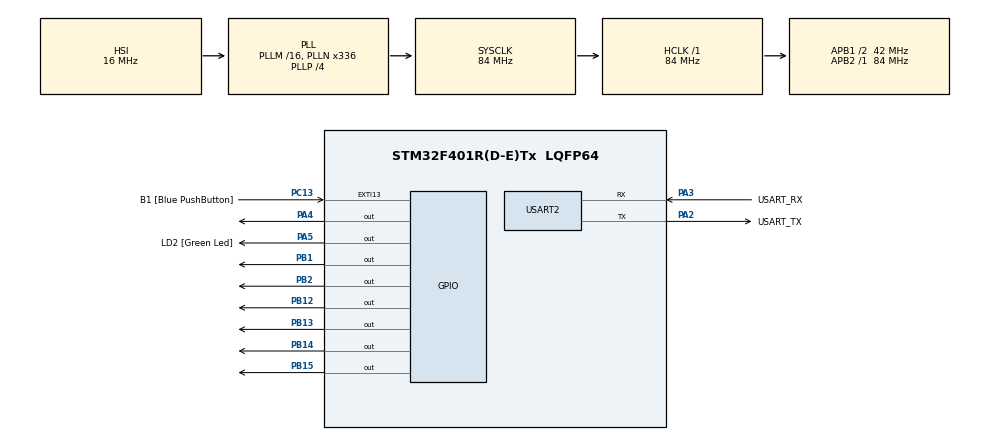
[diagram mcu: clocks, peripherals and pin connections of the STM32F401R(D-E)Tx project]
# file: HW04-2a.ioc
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Mcu.Family=STM32F4
Mcu.Name=STM32F401R(D-E)Tx
Mcu.Package=LQFP64
NVIC.PriorityGroup=NVIC_PRIORITYGROUP_4
NVIC.TIM2_IRQn=true\:0\:0\:false\:false\:true\:true\:true\:true
PA13.GPIO_Label=TMS
PA13.Mode=Trace_Asynchronous_SW
PA13.Signal=SYS_JTMS-SWDIO
PA14.GPIO_Label=TCK
PA14.Mode=Trace_Asynchronous_SW
PA14.Signal=SYS_JTCK-SWCLK
PA2.GPIO_Label=USART_TX
PA2.GPIO_Mode=GPIO_MODE_AF_PP
PA2.GPIO_PuPd=GPIO_NOPULL
PA2.GPIO_Speed=GPIO_SPEED_FREQ_LOW
PA2.Mode=Asynchronous
PA2.Signal=USART2_TX
PA3.GPIO_Label=USART_RX
PA3.GPIO_Mode=GPIO_MODE_AF_PP
PA3.GPIO_PuPd=GPIO_NOPULL
PA3.GPIO_Speed=GPIO_SPEED_FREQ_LOW
PA3.Mode=Asynchronous
PA3.Signal=USART2_RX
PA4.Signal=GPIO_Output
PA5.GPIO_Label=LD2 [Green Led]
PA5.GPIO_Mode=GPIO_MODE_OUTPUT_PP
PA5.GPIO_PuPd=GPIO_NOPULL
PA5.GPIO_Speed=GPIO_SPEED_FREQ_LOW
PA5.Signal=GPIO_Output
PB1.Signal=GPIO_Output
PB12.Signal=GPIO_Output
PB13.Signal=GPIO_Output
PB14.Signal=GPIO_Output
PB15.Signal=GPIO_Output
PB2.Signal=GPIO_Output
PB3.GPIO_Label=SWO
PB3.Mode=Trace_Asynchronous_SW
PB3.Signal=SYS_JTDO-SWO
PC13-ANTI_TAMP.GPIO_Label=B1 [Blue PushButton]
PC13-ANTI_TAMP.GPIO_ModeDefaultEXTI=GPIO_MODE_IT_FALLING
PC13-ANTI_TAMP.GPIO_PuPd=GPIO_NOPULL
PC13-ANTI_TAMP.Signal=GPXTI13
PC14-OSC32_IN.Mode=LSE-External-Oscillator
PC14-OSC32_IN.Signal=RCC_OSC32_IN
PC15-OSC32_OUT.Mode=LSE-External-Oscillator
PC15-OSC32_OUT.Signal=RCC_OSC32_OUT
PH0\ -\ OSC_IN.Mode=HSE-External-Clock-Source
PH0\ -\ OSC_IN.Signal=RCC_OSC_IN
PH1\ -\ OSC_OUT.Mode=HSE-External-Clock-Source
PH1\ -\ OSC_OUT.Signal=RCC_OSC_OUT
ProjectManager.HeapSize=0x200
ProjectManager.StackSize=0x400
ProjectManager.TargetToolchain=STM32CubeIDE
RCC.48MHZClocksFreq_Value=48000000
RCC.AHBFreq_Value=84000000
RCC.APB1CLKDivider=RCC_HCLK_DIV2
RCC.APB1Freq_Value=42000000
RCC.APB1TimFreq_Value=84000000
RCC.APB2Freq_Value=84000000
RCC.APB2TimFreq_Value=84000000
RCC.CortexFreq_Value=84000000
RCC.HCLKFreq_Value=84000000
RCC.HSE_VALUE=8000000
RCC.HSI_VALUE=16000000
RCC.PLLN=336
RCC.PLLP=RCC_PLLP_DIV4
RCC.PLLQ=7
RCC.SYSCLKFreq_VALUE=84000000
RCC.SYSCLKSource=RCC_SYSCLKSOURCE_PLLCLK
RCC.VCOOutputFreq_Value=336000000
TIM2.Period=9999
TIM2.Prescaler=8399
USART2.VirtualMode=VM_ASYNC
VP_TIM2_VS_ClockSourceINT.Mode=Internal
board=NUCLEO-F401RE

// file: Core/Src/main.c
/* USER CODE BEGIN Header */
/**
  ******************************************************************************
  * @file           : main.c
  * @brief          : Main program body
  ******************************************************************************
  * @attention
  *
  * Copyright (c) 2026 STMicroelectronics.
  * All rights reserved.
  *
  * This software is licensed under terms that can be found in the LICENSE file
  * in the root directory of this software component.
  * If no LICENSE file comes with this software, it is provided AS-IS.
  *
  ******************************************************************************
  */
/* USER CODE END Header */
#include "main.h"

/* USER CODE BEGIN Includes */

#include "PMDB16_LCD.h"

/* USER CODE END Includes */

TIM_HandleTypeDef htim2;

UART_HandleTypeDef huart2;

/* USER CODE BEGIN PV */

// Members name and number
char *members[] = {"R. Bresnik", "L. Parmitano", "F. Rubio", "A. Douglas"};
int num_members = 4;

/* USER CODE END PV */

void SystemClock_Config(void);
static void MX_GPIO_Init(void);
static void MX_USART2_UART_Init(void);
static void MX_TIM2_Init(void);

int main(void)
{

  /* MCU Configuration--------------------------------------------------------*/

  /* Reset of all peripherals, Initializes the Flash interface and the Systick. */
  HAL_Init();

  /* Configure the system clock */
  SystemClock_Config();

  /* Initialize all configured peripherals */
  MX_GPIO_Init();
  MX_USART2_UART_Init();
  MX_TIM2_Init();
  /* USER CODE BEGIN 2 */

  // Initialize the LCD
  lcd_initialize();

  // Start TIM2 in Interrupt Mode
  HAL_TIM_Base_Start_IT(&htim2);

  /* USER CODE END 2 */

  /* Infinite loop */
  while (1)
  {

  }
}

void SystemClock_Config(void)
{
  RCC_OscInitTypeDef RCC_OscInitStruct = {0};
  RCC_ClkInitTypeDef RCC_ClkInitStruct = {0};

  /** Configure the main internal regulator output voltage
  */
  __HAL_RCC_PWR_CLK_ENABLE();
  __HAL_PWR_VOLTAGESCALING_CONFIG(PWR_REGULATOR_VOLTAGE_SCALE2);

  /** Initializes the RCC Oscillators according to the specified parameters
  * in the RCC_OscInitTypeDef structure.
  */
  RCC_OscInitStruct.OscillatorType = RCC_OSCILLATORTYPE_HSI;
  RCC_OscInitStruct.HSIState = RCC_HSI_ON;
  RCC_OscInitStruct.HSICalibrationValue = RCC_HSICALIBRATION_DEFAULT;
  RCC_OscInitStruct.PLL.PLLState = RCC_PLL_ON;
  RCC_OscInitStruct.PLL.PLLSource = RCC_PLLSOURCE_HSI;
  RCC_OscInitStruct.PLL.PLLM = 16;
  RCC_OscInitStruct.PLL.PLLN = 336;
  RCC_OscInitStruct.PLL.PLLP = RCC_PLLP_DIV4;
  RCC_OscInitStruct.PLL.PLLQ = 7;
  if (HAL_RCC_OscConfig(&RCC_OscInitStruct) != HAL_OK)
  {
    Error_Handler();
  }

  /** Initializes the CPU, AHB and APB buses clocks
  */
  RCC_ClkInitStruct.ClockType = RCC_CLOCKTYPE_HCLK|RCC_CLOCKTYPE_SYSCLK
                              |RCC_CLOCKTYPE_PCLK1|RCC_CLOCKTYPE_PCLK2;
  RCC_ClkInitStruct.SYSCLKSource = RCC_SYSCLKSOURCE_PLLCLK;
  RCC_ClkInitStruct.AHBCLKDivider = RCC_SYSCLK_DIV1;
  RCC_ClkInitStruct.APB1CLKDivider = RCC_HCLK_DIV2;
  RCC_ClkInitStruct.APB2CLKDivider = RCC_HCLK_DIV1;

  if (HAL_RCC_ClockConfig(&RCC_ClkInitStruct, FLASH_LATENCY_2) != HAL_OK)
  {
    Error_Handler();
  }
}

static void MX_TIM2_Init(void)
{

  TIM_ClockConfigTypeDef sClockSourceConfig = {0};
  TIM_MasterConfigTypeDef sMasterConfig = {0};

  htim2.Instance = TIM2;
  htim2.Init.Prescaler = 8399;
  htim2.Init.CounterMode = TIM_COUNTERMODE_UP;
  htim2.Init.Period = 9999;
  htim2.Init.ClockDivision = TIM_CLOCKDIVISION_DIV1;
  htim2.Init.AutoReloadPreload = TIM_AUTORELOAD_PRELOAD_DISABLE;
  if (HAL_TIM_Base_Init(&htim2) != HAL_OK)
  {
    Error_Handler();
  }
  sClockSourceConfig.ClockSource = TIM_CLOCKSOURCE_INTERNAL;
  if (HAL_TIM_ConfigClockSource(&htim2, &sClockSourceConfig) != HAL_OK)
  {
    Error_Handler();
  }
  sMasterConfig.MasterOutputTrigger = TIM_TRGO_RESET;
  sMasterConfig.MasterSlaveMode = TIM_MASTERSLAVEMODE_DISABLE;
  if (HAL_TIMEx_MasterConfigSynchronization(&htim2, &sMasterConfig) != HAL_OK)
  {
    Error_Handler();
  }

}

static void MX_USART2_UART_Init(void)
{

  huart2.Instance = USART2;
  huart2.Init.BaudRate = 115200;
  huart2.Init.WordLength = UART_WORDLENGTH_8B;
  huart2.Init.StopBits = UART_STOPBITS_1;
  huart2.Init.Parity = UART_PARITY_NONE;
  huart2.Init.Mode = UART_MODE_TX_RX;
  huart2.Init.HwFlowCtl = UART_HWCONTROL_NONE;
  huart2.Init.OverSampling = UART_OVERSAMPLING_16;
  if (HAL_UART_Init(&huart2) != HAL_OK)
  {
    Error_Handler();
  }

}

static void MX_GPIO_Init(void)
{
  GPIO_InitTypeDef GPIO_InitStruct = {0};

  /* GPIO Ports Clock Enable */
  __HAL_RCC_GPIOC_CLK_ENABLE();
  __HAL_RCC_GPIOH_CLK_ENABLE();
  __HAL_RCC_GPIOA_CLK_ENABLE();
  __HAL_RCC_GPIOB_CLK_ENABLE();

  /*Configure GPIO pin Output Level */
  HAL_GPIO_WritePin(GPIOA, GPIO_PIN_4|LD2_Pin, GPIO_PIN_RESET);

  /*Configure GPIO pin Output Level */
  HAL_GPIO_WritePin(GPIOB, GPIO_PIN_1|GPIO_PIN_2|GPIO_PIN_12|GPIO_PIN_13
                          |GPIO_PIN_14|GPIO_PIN_15, GPIO_PIN_RESET);

  /*Configure GPIO pin : B1_Pin */
  GPIO_InitStruct.Pin = B1_Pin;
  GPIO_InitStruct.Mode = GPIO_MODE_IT_FALLING;
  GPIO_InitStruct.Pull = GPIO_NOPULL;
  HAL_GPIO_Init(B1_GPIO_Port, &GPIO_InitStruct);

  /*Configure GPIO pins : PA4 LD2_Pin */
  GPIO_InitStruct.Pin = GPIO_PIN_4|LD2_Pin;
  GPIO_InitStruct.Mode = GPIO_MODE_OUTPUT_PP;
  GPIO_InitStruct.Pull = GPIO_NOPULL;
  GPIO_InitStruct.Speed = GPIO_SPEED_FREQ_LOW;
  HAL_GPIO_Init(GPIOA, &GPIO_InitStruct);

  /*Configure GPIO pins : PB1 PB2 PB12 PB13
                           PB14 PB15 */
  GPIO_InitStruct.Pin = GPIO_PIN_1|GPIO_PIN_2|GPIO_PIN_12|GPIO_PIN_13
                          |GPIO_PIN_14|GPIO_PIN_15;
  GPIO_InitStruct.Mode = GPIO_MODE_OUTPUT_PP;
  GPIO_InitStruct.Pull = GPIO_NOPULL;
  GPIO_InitStruct.Speed = GPIO_SPEED_FREQ_LOW;
  HAL_GPIO_Init(GPIOB, &GPIO_InitStruct);

}

/* USER CODE BEGIN 4 */

// This function is automatically called when a Timer Period elapses
void HAL_TIM_PeriodElapsedCallback(TIM_HandleTypeDef *htim)
{
  if (htim->Instance == TIM2) {

	static int current_state = 0;

	if (current_state == 0) {

	  // Initial state: Blank line on top, Member 1 on bottom
	  lcd_println(" ", 0);
	  lcd_println(members[0], 1);

	} else {

	  // Subsequent states: overlapping names to create the scroll effect
	  int top_index = current_state - 1;
	  int bottom_index = current_state % num_members;

	  lcd_println(members[top_index], 0);
	  lcd_println(members[bottom_index], 1);
	}

	// Increment state and wrap around to let the cycle repeat
	current_state++;
	if (current_state > num_members) {
	  current_state = 0;
	}
  }
}

/* USER CODE END 4 */

void Error_Handler(void)
{
  __disable_irq();
  while (1)
  {
  }
}
